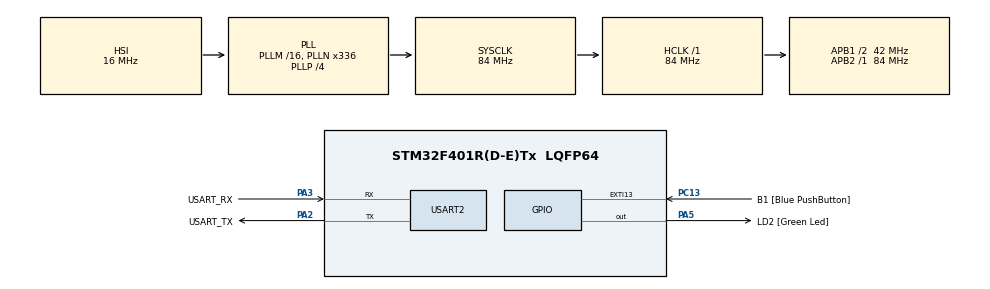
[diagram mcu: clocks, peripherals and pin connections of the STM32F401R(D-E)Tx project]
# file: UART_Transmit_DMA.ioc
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Dma.Request0=USART2_TX
Dma.USART2_TX.0.Direction=DMA_MEMORY_TO_PERIPH
Dma.USART2_TX.0.FIFOMode=DMA_FIFOMODE_DISABLE
Dma.USART2_TX.0.Instance=DMA1_Stream6
Dma.USART2_TX.0.MemDataAlignment=DMA_MDATAALIGN_BYTE
Dma.USART2_TX.0.MemInc=DMA_MINC_ENABLE
Dma.USART2_TX.0.Mode=DMA_NORMAL
Dma.USART2_TX.0.PeriphDataAlignment=DMA_PDATAALIGN_BYTE
Dma.USART2_TX.0.PeriphInc=DMA_PINC_DISABLE
Dma.USART2_TX.0.Priority=DMA_PRIORITY_LOW
Mcu.Family=STM32F4
Mcu.Name=STM32F401R(D-E)Tx
Mcu.Package=LQFP64
NVIC.DMA1_Stream6_IRQn=true\:0\:0\:false\:false\:true\:false\:true\:true
NVIC.PriorityGroup=NVIC_PRIORITYGROUP_0
NVIC.USART2_IRQn=true\:0\:0\:false\:false\:true\:true\:true\:true
PA13.GPIO_Label=TMS
PA13.Mode=Serial_Wire
PA13.Signal=SYS_JTMS-SWDIO
PA14.GPIO_Label=TCK
PA14.Mode=Serial_Wire
PA14.Signal=SYS_JTCK-SWCLK
PA2.GPIO_Label=USART_TX
PA2.GPIO_Mode=GPIO_MODE_AF_PP
PA2.GPIO_PuPd=GPIO_NOPULL
PA2.GPIO_Speed=GPIO_SPEED_FREQ_LOW
PA2.Mode=Asynchronous
PA2.Signal=USART2_TX
PA3.GPIO_Label=USART_RX
PA3.GPIO_Mode=GPIO_MODE_AF_PP
PA3.GPIO_PuPd=GPIO_NOPULL
PA3.GPIO_Speed=GPIO_SPEED_FREQ_LOW
PA3.Mode=Asynchronous
PA3.Signal=USART2_RX
PA5.GPIO_Label=LD2 [Green Led]
PA5.GPIO_Mode=GPIO_MODE_OUTPUT_PP
PA5.GPIO_PuPd=GPIO_NOPULL
PA5.GPIO_Speed=GPIO_SPEED_FREQ_LOW
PA5.Signal=GPIO_Output
PB3.GPIO_Label=SWO
PB3.Signal=SYS_JTDO-SWO
PC13-ANTI_TAMP.GPIO_Label=B1 [Blue PushButton]
PC13-ANTI_TAMP.GPIO_ModeDefaultEXTI=GPIO_MODE_IT_FALLING
PC13-ANTI_TAMP.GPIO_PuPd=GPIO_NOPULL
PC13-ANTI_TAMP.Signal=GPXTI13
PC14-OSC32_IN.Mode=LSE-External-Oscillator
PC14-OSC32_IN.Signal=RCC_OSC32_IN
PC15-OSC32_OUT.Mode=LSE-External-Oscillator
PC15-OSC32_OUT.Signal=RCC_OSC32_OUT
PH0\ -\ OSC_IN.Mode=HSE-External-Clock-Source
PH0\ -\ OSC_IN.Signal=RCC_OSC_IN
PH1\ -\ OSC_OUT.Mode=HSE-External-Clock-Source
PH1\ -\ OSC_OUT.Signal=RCC_OSC_OUT
ProjectManager.HeapSize=0x200
ProjectManager.StackSize=0x400
ProjectManager.TargetToolchain=STM32CubeIDE
RCC.48MHZClocksFreq_Value=48000000
RCC.AHBFreq_Value=84000000
RCC.APB1CLKDivider=RCC_HCLK_DIV2
RCC.APB1Freq_Value=42000000
RCC.APB1TimFreq_Value=84000000
RCC.APB2Freq_Value=84000000
RCC.APB2TimFreq_Value=84000000
RCC.CortexFreq_Value=84000000
RCC.HCLKFreq_Value=84000000
RCC.HSE_VALUE=8000000
RCC.HSI_VALUE=16000000
RCC.PLLN=336
RCC.PLLP=RCC_PLLP_DIV4
RCC.PLLQ=7
RCC.SYSCLKFreq_VALUE=84000000
RCC.SYSCLKSource=RCC_SYSCLKSOURCE_PLLCLK
RCC.VCOOutputFreq_Value=336000000
USART2.VirtualMode=VM_ASYNC
board=NUCLEO-F401RE

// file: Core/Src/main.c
/* USER CODE BEGIN Header */
/**
  ******************************************************************************
  * @file           : main.c
  * @brief          : Main program body
  ******************************************************************************
  * @attention
  *
  * Copyright (c) 2024 STMicroelectronics.
  * All rights reserved.
  *
  * This software is licensed under terms that can be found in the LICENSE file
  * in the root directory of this software component.
  * If no LICENSE file comes with this software, it is provided AS-IS.
  *
  ******************************************************************************
  */
/* USER CODE END Header */
#include "main.h"

UART_HandleTypeDef huart2;
DMA_HandleTypeDef hdma_usart2_tx;

void SystemClock_Config(void);
static void MX_GPIO_Init(void);
static void MX_DMA_Init(void);
static void MX_USART2_UART_Init(void);

/* USER CODE BEGIN 0 */
uint8_t data[10];
uint8_t count = 0;
uint8_t toggle = 0;
void HAL_UART_TxHalfCpltCallback(UART_HandleTypeDef *huart)
{
	toggle = ~toggle;
	if(toggle)
	{
		for(int i=0;i<5;i++)
		{
			data[i]='a';
		}
	}
	else
	{
		for(int i=0;i<5;i++)
		{
			data[i] = 'b';
		}
	}
}

void HAL_UART_TxCpltCallback(UART_HandleTypeDef *huart)
{
	toggle = ~toggle;
	if(toggle)
	{
		for(int i=5;i<10;i++)
		{
			data[i]='c';
		}
	}
	else
	{
		for(int i=5;i<10;i++)
		{
			data[i] = 'd';
		}
	}
}
/* USER CODE END 0 */

int main(void)
{

  /* MCU Configuration--------------------------------------------------------*/

  /* Reset of all peripherals, Initializes the Flash interface and the Systick. */
  HAL_Init();

  /* Configure the system clock */
  SystemClock_Config();

  /* Initialize all configured peripherals */
  MX_GPIO_Init();
  MX_DMA_Init();
  MX_USART2_UART_Init();
  /* USER CODE BEGIN 2 */
for(int i =0;i<10;i++)
{
	data[i]='x';
}
  /* USER CODE END 2 */

  /* Infinite loop */
  while (1)
  {
	  HAL_GPIO_TogglePin(GPIOA, GPIO_PIN_5);
	  HAL_Delay(1000);

	  count++;

	  if((count%5)==0)
	  {
		  HAL_UART_Transmit_DMA(&huart2,data,sizeof(data));
	  }
  }
}

void SystemClock_Config(void)
{
  RCC_OscInitTypeDef RCC_OscInitStruct = {0};
  RCC_ClkInitTypeDef RCC_ClkInitStruct = {0};

  /** Configure the main internal regulator output voltage
  */
  __HAL_RCC_PWR_CLK_ENABLE();
  __HAL_PWR_VOLTAGESCALING_CONFIG(PWR_REGULATOR_VOLTAGE_SCALE2);

  /** Initializes the RCC Oscillators according to the specified parameters
  * in the RCC_OscInitTypeDef structure.
  */
  RCC_OscInitStruct.OscillatorType = RCC_OSCILLATORTYPE_HSI;
  RCC_OscInitStruct.HSIState = RCC_HSI_ON;
  RCC_OscInitStruct.HSICalibrationValue = RCC_HSICALIBRATION_DEFAULT;
  RCC_OscInitStruct.PLL.PLLState = RCC_PLL_ON;
  RCC_OscInitStruct.PLL.PLLSource = RCC_PLLSOURCE_HSI;
  RCC_OscInitStruct.PLL.PLLM = 16;
  RCC_OscInitStruct.PLL.PLLN = 336;
  RCC_OscInitStruct.PLL.PLLP = RCC_PLLP_DIV4;
  RCC_OscInitStruct.PLL.PLLQ = 7;
  if (HAL_RCC_OscConfig(&RCC_OscInitStruct) != HAL_OK)
  {
    Error_Handler();
  }

  /** Initializes the CPU, AHB and APB buses clocks
  */
  RCC_ClkInitStruct.ClockType = RCC_CLOCKTYPE_HCLK|RCC_CLOCKTYPE_SYSCLK
                              |RCC_CLOCKTYPE_PCLK1|RCC_CLOCKTYPE_PCLK2;
  RCC_ClkInitStruct.SYSCLKSource = RCC_SYSCLKSOURCE_PLLCLK;
  RCC_ClkInitStruct.AHBCLKDivider = RCC_SYSCLK_DIV1;
  RCC_ClkInitStruct.APB1CLKDivider = RCC_HCLK_DIV2;
  RCC_ClkInitStruct.APB2CLKDivider = RCC_HCLK_DIV1;

  if (HAL_RCC_ClockConfig(&RCC_ClkInitStruct, FLASH_LATENCY_2) != HAL_OK)
  {
    Error_Handler();
  }
}

static void MX_USART2_UART_Init(void)
{

  huart2.Instance = USART2;
  huart2.Init.BaudRate = 115200;
  huart2.Init.WordLength = UART_WORDLENGTH_8B;
  huart2.Init.StopBits = UART_STOPBITS_1;
  huart2.Init.Parity = UART_PARITY_NONE;
  huart2.Init.Mode = UART_MODE_TX_RX;
  huart2.Init.HwFlowCtl = UART_HWCONTROL_NONE;
  huart2.Init.OverSampling = UART_OVERSAMPLING_16;
  if (HAL_UART_Init(&huart2) != HAL_OK)
  {
    Error_Handler();
  }

}

static void MX_DMA_Init(void)
{

  /* DMA controller clock enable */
  __HAL_RCC_DMA1_CLK_ENABLE();

  /* DMA interrupt init */
  /* DMA1_Stream6_IRQn interrupt configuration */
  HAL_NVIC_SetPriority(DMA1_Stream6_IRQn, 0, 0);
  HAL_NVIC_EnableIRQ(DMA1_Stream6_IRQn);

}

static void MX_GPIO_Init(void)
{
  GPIO_InitTypeDef GPIO_InitStruct = {0};

  /* GPIO Ports Clock Enable */
  __HAL_RCC_GPIOC_CLK_ENABLE();
  __HAL_RCC_GPIOH_CLK_ENABLE();
  __HAL_RCC_GPIOA_CLK_ENABLE();
  __HAL_RCC_GPIOB_CLK_ENABLE();

  /*Configure GPIO pin Output Level */
  HAL_GPIO_WritePin(LD2_GPIO_Port, LD2_Pin, GPIO_PIN_RESET);

  /*Configure GPIO pin : B1_Pin */
  GPIO_InitStruct.Pin = B1_Pin;
  GPIO_InitStruct.Mode = GPIO_MODE_IT_FALLING;
  GPIO_InitStruct.Pull = GPIO_NOPULL;
  HAL_GPIO_Init(B1_GPIO_Port, &GPIO_InitStruct);

  /*Configure GPIO pin : LD2_Pin */
  GPIO_InitStruct.Pin = LD2_Pin;
  GPIO_InitStruct.Mode = GPIO_MODE_OUTPUT_PP;
  GPIO_InitStruct.Pull = GPIO_NOPULL;
  GPIO_InitStruct.Speed = GPIO_SPEED_FREQ_LOW;
  HAL_GPIO_Init(LD2_GPIO_Port, &GPIO_InitStruct);

}

void Error_Handler(void)
{
  __disable_irq();
  while (1)
  {
  }
}
